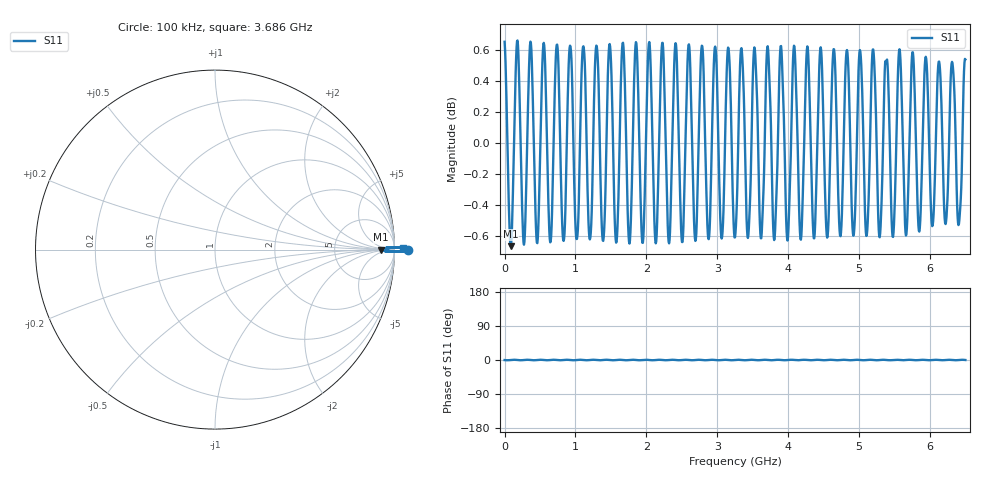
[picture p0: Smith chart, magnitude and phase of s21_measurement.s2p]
! RSA506N VNA S21 Measurement
! Converted from gen_det.txt
# Hz S DB R 50
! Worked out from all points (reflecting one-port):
!   1001 points, 100 kHz to 6.5 GHz, reference 50 ohm
!   lowest |S11| = -0.7 dB at 84.6 MHz (marker M1), VSWR 26.14, Z = 1.31e+03 - j12.2 ohm
!   phase of S11 starts at -0 deg and turns +0 deg over the sweep
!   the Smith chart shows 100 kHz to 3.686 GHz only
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100000  0.65 -0.2
8.45987e7  -0.66 -0.0
1.755973e8  0.65 0.1
2.665959e8  -0.64 -0.1
3.640944e8  0.65 0.0
8.125875e8  -0.52 -0.4
9.230858e8  0.63 0.0
1.014084e9  -0.62 -0.1
1.111583e9  0.62 -0.0
1.202582e9  -0.62 -0.0
1.29358e9  0.63 0.1
1.384579e9  -0.63 -0.1
1.625075e9  0.07 0.7
2.437562e9  0.40 -0.5
2.879556e9  -0.62 0.0
2.970554e9  0.62 -0.0
3.061553e9  -0.62 -0.0
3.159051e9  0.61 -0.1
3.25005e9  -0.61 0.0
3.341049e9  0.61 -0.0
3.432047e9  -0.61 -0.0
3.523046e9  0.61 0.1
3.620544e9  -0.61 0.0
4.062538e9  0.45 0.5
4.875025e9  0.01 -0.6
5.687512e9  -0.40 0.4
6.409001e9  -0.52 0.0
6.5e9  0.54 -0.0
